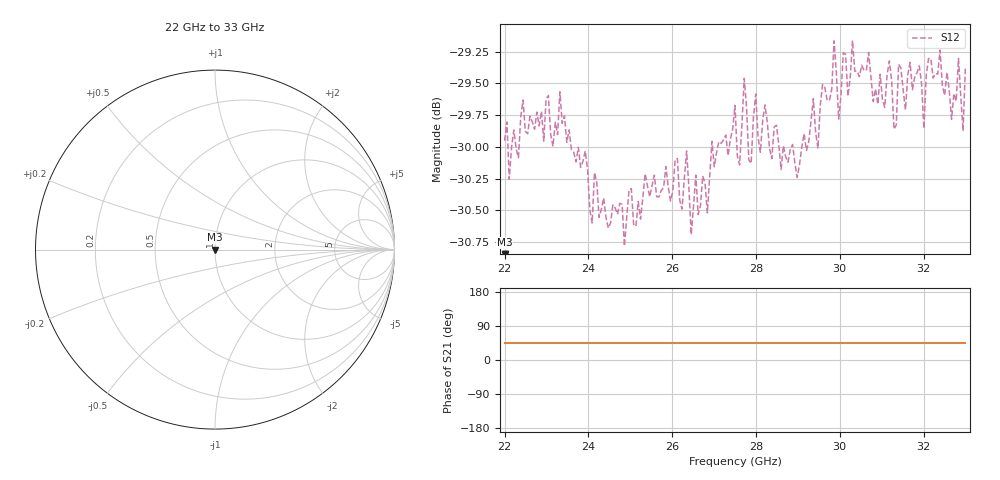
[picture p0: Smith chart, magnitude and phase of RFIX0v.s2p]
!Keysight Technologies,N5224B,MY57181201,A.12.70.07
!Date: Thursday, July 14, 2022 13:00:52
!Correction: S11(Off)
!S21(Off)
!S12(Off)
!S22(Off)
!S2P File: Measurements: S11, S21, S12, S22:
# Hz S  dB  R 50
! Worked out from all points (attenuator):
!   201 points, 22 GHz to 33 GHz, reference 50 ohm
!   highest |S21| = - dB at 22 GHz (marker M1); lowest = - dB at 22 GHz (marker M2)
!   lowest |S11| = - dB at 22 GHz (marker M3), VSWR 1.00, Z = 50 + j7.07e-09 ohm
!   |S11| at or under -10 dB: start of sweep to end of sweep
!   |S22| runs from - to - dB; largest |S21 - S12| = 0.035
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2.2e10  -200.00 45.0  -200.00 45.0  -29.95 74.3  -200.00 45.0
2.211e10  -200.00 45.0  -200.00 45.0  -30.26 -98.4  -200.00 45.0
2.222e10  -200.00 45.0  -200.00 45.0  -29.87 91.7  -200.00 45.0
2.233e10  -200.00 45.0  -200.00 45.0  -30.09 -79.2  -200.00 45.0
2.244e10  -200.00 45.0  -200.00 45.0  -29.63 108.7  -200.00 45.0
2.3155e10  -200.00 45.0  -200.00 45.0  -30.00 -101.1  -200.00 45.0
2.3265e10  -200.00 45.0  -200.00 45.0  -29.90 89.8  -200.00 45.0
2.3375e10  -200.00 45.0  -200.00 45.0  -29.82 -82.0  -200.00 45.0
2.387e10  -200.00 45.0  -200.00 45.0  -30.11 54.8  -200.00 45.0
2.5685e10  -200.00 45.0  -200.00 45.0  -30.39 -30.7  -200.00 45.0
2.739e10  -200.00 45.0  -200.00 45.0  -29.94 66.7  -200.00 45.0
2.75e10  -200.00 45.0  -200.00 45.0  -29.67 -102.9  -200.00 45.0
2.8435e10  -200.00 45.0  -200.00 45.0  -29.84 92.7  -200.00 45.0
2.937e10  -200.00 45.0  -200.00 45.0  -29.62 -72.0  -200.00 45.0
2.9865e10  -200.00 45.0  -200.00 45.0  -29.17 76.4  -200.00 45.0
2.9975e10  -200.00 45.0  -200.00 45.0  -29.78 -92.4  -200.00 45.0
3.0085e10  -200.00 45.0  -200.00 45.0  -29.26 102.1  -200.00 45.0
3.0195e10  -200.00 45.0  -200.00 45.0  -29.60 -66.8  -200.00 45.0
3.069e10  -200.00 45.0  -200.00 45.0  -29.26 78.7  -200.00 45.0
3.1185e10  -200.00 45.0  -200.00 45.0  -29.32 -133.3  -200.00 45.0
3.289e10  -200.00 45.0  -200.00 45.0  -29.61 -21.8  -200.00 45.0
3.3e10  -200.00 45.0  -200.00 45.0  -29.37 172.4  -200.00 45.0
